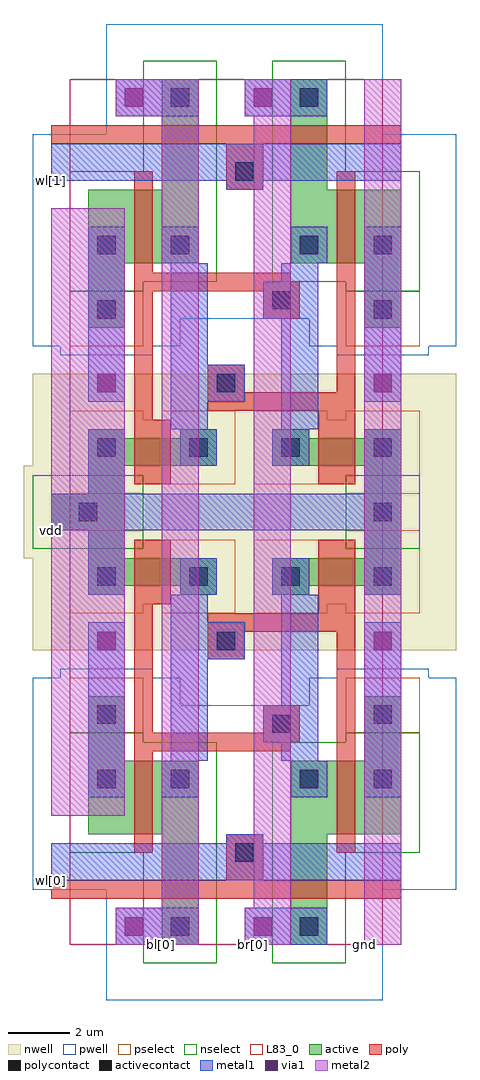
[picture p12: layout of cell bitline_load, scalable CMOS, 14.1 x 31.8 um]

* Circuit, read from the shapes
.subckt bitline_load bl[0] br[0] gnd vdd wl[0] wl[1]
M1 n1 n2 gnd gnd nfet w=2.4u l=0.6u
M2 n3 n4 gnd gnd nfet w=2.4u l=0.6u
M3 n1 wl[0] bl[0] gnd nfet w=1.2u l=0.6u
M4 bl[0] wl[1] n3 gnd nfet w=1.2u l=0.6u
M5 n2 wl[0] br[0] gnd nfet w=1.2u l=0.6u
M6 br[0] wl[1] n4 gnd nfet w=1.2u l=0.6u
M7 gnd n1 n2 gnd nfet w=2.4u l=0.6u
M8 gnd n3 n4 gnd nfet w=2.4u l=0.6u
M9 n1 n2 vdd vdd pfet w=0.9u l=1.2u
M10 n3 n4 vdd vdd pfet w=0.9u l=1.2u
M11 vdd n1 n2 vdd pfet w=0.9u l=1.2u
M12 vdd n3 n4 vdd pfet w=0.9u l=1.2u
.ends

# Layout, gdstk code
import gdstk
lib = gdstk.Library(unit=1e-6, precision=1e-09)
def R(c, l, rs):  # rectangles x0, y0, x1, y1
    for r in rs: c.add(gdstk.rectangle(r[:2], r[2:], *l))
def A(c, l, x, y, w, h, nx, ny, dx, dy):  # array of equal rectangles
    R(c, l, [(x+i*dx, y+j*dy, x+i*dx+w, y+j*dy+h) for i in range(nx) for j in range(ny)])
pwell = (41, 0)
nwell = (42, 0)
active = (43, 0)
pselect = (44, 0)
nselect = (45, 0)
poly = (46, 0)
polycontact = (47, 0)
activecontact = (48, 0)
metal1 = (49, 0)
via1 = (50, 0)
metal2 = (51, 0)
L83_0 = (83, 0)

cell_6t = lib.new_cell('cell_6t')
R(cell_6t, pwell, [(1.2,-1.8,10.2,1.8), (-1.2,1.8,12.6,7.8), (-1.2,7.8,3.6,8.7), (7.8,7.8,12.6,8.7), (-0.3,8.7,2.7,9), (8.7,8.7,11.7,9)])
R(cell_6t, nwell, [(-1.2,9.6,12.6,12.6), (-1.5,12.6,12.6,14.4), (-1.5,14.4,3.6,15.3), (7.8,14.4,12.6,15.3), (-1.5,15.3,2.7,15.6), (8.7,15.3,11.7,15.6)])
A(cell_6t, active, 0.6, 11.4, 1.2, 0.3, 4, 1, 3, 0)
R(cell_6t, active, [(3,0,4.2,3.6), (7.2,0,8.4,3.6), (0.6,3.6,4.2,6), (7.2,3.6,10.8,6), (0.6,6,1.8,8.1), (9.6,6,10.8,8.1), (0.6,11.7,4.8,12.6), (6.6,11.7,10.8,12.6), (0.6,12.6,1.8,13.5), (9.6,12.6,10.8,14.7), (-0.6,13.5,1.8,14.7)])
A(cell_6t, pselect, 0, 10.8, 2.4, 0.3, 4, 1, 3, 0)
R(cell_6t, pselect, [(0,6.9,2.4,8.7), (9,6.9,11.4,8.7), (0,11.1,5.4,13.2), (6,11.1,11.4,13.2), (0,13.2,2.4,13.5), (9,13.2,11.4,13.5)])
R(cell_6t, nselect, [(2.4,-0.6,4.8,3), (6.6,-0.6,9,3), (0,3,4.8,6.6), (6.6,3,11.4,6.6), (0,6.6,2.4,6.9), (9,6.6,11.4,6.9), (-1.2,12.9,0,13.5), (-1.2,13.5,2.4,15.3), (9,13.5,11.4,15.3)])
R(cell_6t, poly, [(-0.6,1.5,10.8,2.1), (5.1,2.1,6.3,3.6), (2.1,3,2.7,6.3), (8.7,3,9.3,10.2), (2.1,6.3,7.2,6.6), (2.1,6.6,7.5,6.9), (2.1,6.9,2.7,11.1), (6.3,6.9,7.5,7.8), (4.5,9.3,5.7,10.2), (4.5,10.2,9.3,10.8), (8.1,10.8,9.3,13.2), (2.1,11.1,3.3,13.2)])
R(cell_6t, polycontact, [(5.4,2.7,6,3.3), (6.6,6.9,7.2,7.5), (4.8,9.6,5.4,10.2)])
A(cell_6t, activecontact, 0.9, 11.7, 0.6, 0.6, 4, 1, 3, 0)
R(cell_6t, activecontact, [(3.3,0.3,3.9,0.9), (7.5,0.3,8.1,0.9), (0.9,5.1,1.5,5.7), (3.3,5.1,3.9,5.7), (7.5,5.1,8.1,5.7), (9.9,5.1,10.5,5.7), (0.9,7.2,1.5,7.8), (9.9,7.2,10.5,7.8), (0.3,13.8,0.9,14.4), (9.9,13.8,10.5,14.4)])
R(cell_6t, metal1, [(1.5,0,4.2,1.2), (5.7,0,8.4,1.2), (-0.6,2.1,10.8,3.3), (-0.6,2.1,10.8,3.3), (5.1,3.3,6.3,3.6), (0.6,4.8,1.8,10.5), (3,4.8,4.2,6), (7.2,4.8,8.4,6), (9.6,4.8,10.8,10.5), (3.3,6,4.5,9.3), (6.9,6,8.1,6.6), (6.3,6.6,8.1,7.8), (6.9,7.8,8.1,11.4), (3.3,9.3,5.7,10.5), (3.3,10.5,4.5,11.4), (0.6,11.4,1.8,13.5), (3.6,11.4,4.8,12.6), (6.6,11.4,7.8,12.6), (9.6,11.4,10.8,13.5), (-0.6,13.5,10.8,14.7), (-0.6,13.5,10.8,14.7)])
R(cell_6t, via1, [(1.8,0.3,2.4,0.9), (6,0.3,6.6,0.9), (0.9,9.6,1.5,10.2), (9.9,9.6,10.5,10.2)])
R(cell_6t, metal2, [(1.5,0,4.2,1.2), (3,0,4.2,13.5), (3,0,4.2,13.5), (5.7,0,7.2,1.2), (6,0,7.2,14.7), (6,0,7.2,14.7), (9.6,0,10.8,14.7), (9.6,0,10.8,14.7), (-0.6,4.2,1.8,14.7), (-0.6,4.2,1.8,14.7)])
R(cell_6t, L83_0, [(0,0,10.2,14.1)])
cell_6t.add(gdstk.Label('vdd', (9.6,13.5), layer=49, texttype=0))
cell_6t.add(gdstk.Label('WL', (0,2.1), layer=49, texttype=0))
cell_6t.add(gdstk.Label('BR', (6,1.2), layer=51, texttype=0))
cell_6t.add(gdstk.Label('BL', (3,1.2), layer=51, texttype=0))
cell_6t.add(gdstk.Label('gnd', (9.6,9.3), layer=51, texttype=0))
cell_6t.add(gdstk.Label('gnd', (0.6,9.3), layer=51, texttype=0))
cell_6t.add(gdstk.Label('BL', (3,0), layer=51, texttype=0))
cell_6t.add(gdstk.Label('WL', (-0.6,2.1), layer=49, texttype=0))
cell_6t.add(gdstk.Label('gnd', (9.6,0), layer=51, texttype=0))
cell_6t.add(gdstk.Label('gnd', (-0.6,4.2), layer=51, texttype=0))
cell_6t.add(gdstk.Label('vdd', (-0.6,13.5), layer=49, texttype=0))
cell_6t.add(gdstk.Label('BR', (6,0), layer=51, texttype=0))

bitline_load = lib.new_cell('bitline_load')
R(bitline_load, metal1, [(-0.6,2.1,10.8,3.3), (-0.6,13.5,10.8,14.4), (-0.6,24.9,10.8,26.1)])
R(bitline_load, metal2, [(3,0,4.2,28.2), (6,0,7.2,28.2), (9.6,0,10.8,28.2)])
bitline_load.add(gdstk.Reference(cell_6t, (0,0)))
bitline_load.add(gdstk.Reference(cell_6t, (0,28.2), x_reflection=True))
bitline_load.add(gdstk.Label('bl[0]', (3,0), layer=51, texttype=0))
bitline_load.add(gdstk.Label('wl[0]', (-0.6,2.1), layer=49, texttype=0))
bitline_load.add(gdstk.Label('wl[1]', (-0.6,24.9), layer=49, texttype=0))
bitline_load.add(gdstk.Label('vdd', (-0.6,13.5), layer=49, texttype=0))
bitline_load.add(gdstk.Label('gnd', (9.6,0), layer=51, texttype=0))
bitline_load.add(gdstk.Label('br[0]', (6,0), layer=51, texttype=0))

lib.write_gds('bitline_load.gds')
